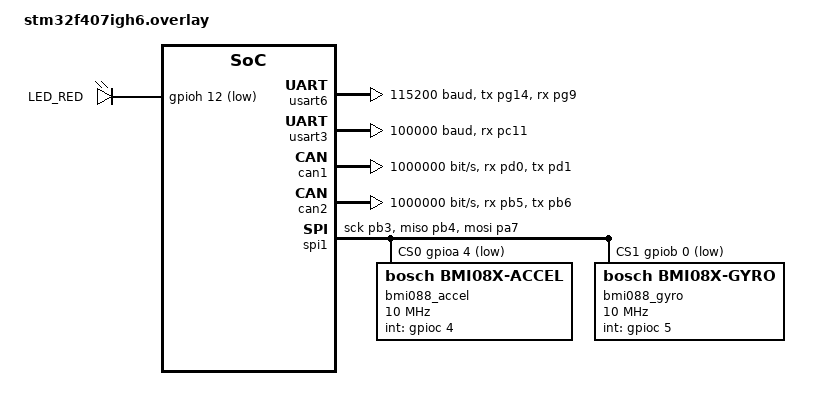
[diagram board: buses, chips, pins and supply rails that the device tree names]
#include <dt-bindings/gpio/gpio.h>
#include <dt-bindings/pinctrl/stm32-pinctrl.h>

/ {
	aliases {
		user-can1    = &can1;
		remote-uart  = &usart3;
		bmi088-accel = &bmi088_accel;
		bmi088-gyro  = &bmi088_gyro;
	};
	chosen {
		zephyr,console = &usart6;
		zephyr,shell-uart = &usart6;
	};
	leds {
		compatible = "gpio-leds";
		led_alert: led_alert {
			gpios = <&gpioh 12 GPIO_ACTIVE_LOW>;
			label = "LED_RED";
		};
	};
};

&usart6 {
	pinctrl-0 = <&usart6_tx_pg14 &usart6_rx_pg9>;
	pinctrl-names = "default";
	current-speed = <115200>;
	dmas = <&dma2 6 5 STM32_DMA_PERIPH_TX STM32_DMA_FIFO_FULL>,
	       <&dma2 1 5 STM32_DMA_PERIPH_RX STM32_DMA_FIFO_FULL>;
	dma-names = "tx", "rx";
	status = "okay";
};

&usart3 {
	pinctrl-0 = <&usart3_rx_pc11>;
	pinctrl-names = "default";
	current-speed = <100000>;
	dmas = <&dma1 1 4 STM32_DMA_PERIPH_RX STM32_DMA_FIFO_FULL>;
	dma-names = "rx";
	status = "okay";
};

&dma1 {
	status = "okay";
};

&dma2 {
	status = "okay";
};

&can1 {
	pinctrl-0 = <&can1_rx_pd0 &can1_tx_pd1>;
	pinctrl-names = "default";
	bitrate = <1000000>;
	status = "okay";
};

&can2 {
	pinctrl-0 = <&can2_rx_pb5 &can2_tx_pb6>;
	pinctrl-names = "default";
	bitrate = <1000000>;
	status = "okay";
};

&spi1 {
	pinctrl-0 = <&spi1_sck_pb3 &spi1_miso_pb4 &spi1_mosi_pa7>;
	pinctrl-names = "default";
	cs-gpios = <&gpioa 4 (GPIO_ACTIVE_LOW | GPIO_PULL_UP)>,
		   <&gpiob 0 (GPIO_ACTIVE_LOW | GPIO_PULL_UP)>;
	status = "okay";

	bmi088_accel: bmi088-accel@0 {
		compatible = "bosch,bmi08x-accel";
		reg = <0>;
		spi-max-frequency = <10000000>;
		spi-cpol;
		spi-cpha;
		int-gpios = <&gpioc 4 GPIO_ACTIVE_HIGH>;
		int1-map-io = <0x01>;
		int2-map-io = <0x00>;
		int1-conf-io = <0x0A>;
		int2-conf-io = <0x00>;
		accel-hz = "800";
		accel-fs = <6>;
		status = "okay";
	};

	bmi088_gyro: bmi088-gyro@1 {
		compatible = "bosch,bmi08x-gyro";
		reg = <1>;
		spi-max-frequency = <10000000>;
		spi-cpol;
		spi-cpha;
		int-gpios = <&gpioc 5 GPIO_ACTIVE_HIGH>;
		int3-4-map-io = <0x01>;
		int3-4-conf-io = <0x01>;
		gyro-hz = "2000_230";
		gyro-fs = <2000>;
		status = "okay";
	};
};

&pinctrl {
	spi1_sck_pb3: spi1_sck_pb3 {
		pinmux = <STM32_PINMUX('B', 3, AF5)>;
		bias-pull-down;
		slew-rate = "very-high-speed";
	};

	spi1_miso_pb4: spi1_miso_pb4 {
		pinmux = <STM32_PINMUX('B', 4, AF5)>;
		bias-pull-down;
	};

	spi1_mosi_pa7: spi1_mosi_pa7 {
		pinmux = <STM32_PINMUX('A', 7, AF5)>;
		bias-pull-down;
	};
};
